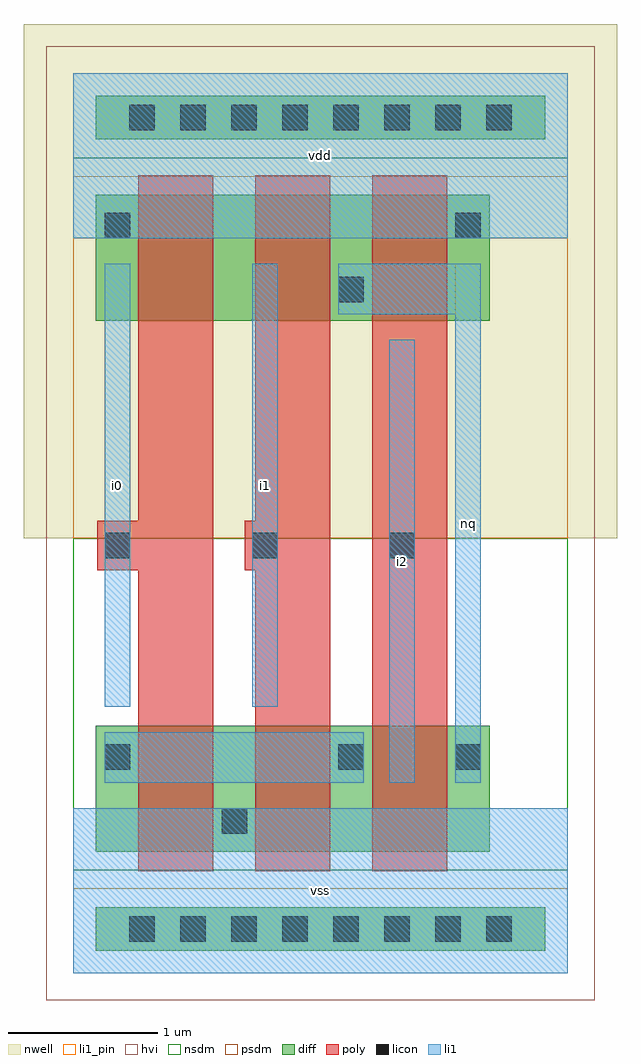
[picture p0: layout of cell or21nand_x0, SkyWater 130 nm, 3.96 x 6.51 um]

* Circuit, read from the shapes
.subckt or21nand_x0 i0 i1 i2 nq vdd vss
XM1 vss i0 n1 VSUBS sky130_fd_pr__nfet_g5v0d10v5 w=0.84 l=0.5
XM2 n1 i1 vss VSUBS sky130_fd_pr__nfet_g5v0d10v5 w=0.84 l=0.5
XM3 nq i2 n1 VSUBS sky130_fd_pr__nfet_g5v0d10v5 w=0.84 l=0.5
XM4 n2 i0 vdd n3 sky130_fd_pr__pfet_g5v0d10v5 w=0.84 l=0.5
XM5 nq i1 n2 n3 sky130_fd_pr__pfet_g5v0d10v5 w=0.84 l=0.5
XM6 vdd i2 nq n3 sky130_fd_pr__pfet_g5v0d10v5 w=0.84 l=0.5
.ends

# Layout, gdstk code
import gdstk
lib = gdstk.Library(unit=1e-6, precision=1e-09)
def R(c, l, rs):  # rectangles x0, y0, x1, y1
    for r in rs: c.add(gdstk.rectangle(r[:2], r[2:], *l))
def A(c, l, x, y, w, h, nx, ny, dx, dy):  # array of equal rectangles
    R(c, l, [(x+i*dx, y+j*dy, x+i*dx+w, y+j*dy+h) for i in range(nx) for j in range(ny)])
def P(c, l, *ps):  # polygons
    for p in ps: c.add(gdstk.Polygon(p, *l))
nwell = (64, 20)
diff = (65, 20)
poly = (66, 20)
licon = (66, 44)
li1_pin = (67, 16)
li1 = (67, 20)
hvi = (75, 20)
nsdm = (93, 44)
psdm = (94, 20)

or21nand_x0 = lib.new_cell('or21nand_x0')
R(or21nand_x0, nwell, [(-0.33,2.9,3.63,6.33)])
R(or21nand_x0, diff, [(0.15,0.15,3.15,0.44), (0.15,0.81,2.78,1.65), (0.15,4.35,2.78,5.19), (0.15,5.56,3.15,5.85)])
R(or21nand_x0, poly, [(1.995,0.68,2.495,5.32)])
P(or21nand_x0, poly, [(0.435,0.68),(0.435,2.685),(0.16,2.685),(0.16,3.015),(0.435,3.015),(0.435,5.32),(0.935,5.32),(0.935,0.68)],
  [(1.215,0.68),(1.215,2.685),(1.145,2.685),(1.145,3.015),(1.215,3.015),(1.215,5.32),(1.715,5.32),(1.715,0.68)])
A(or21nand_x0, licon, 0.375, 0.21, 0.17, 0.17, 8, 2, 0.34, 5.41)
R(or21nand_x0, licon, [(0.99,0.93,1.16,1.1), (0.21,1.355,0.38,1.525), (1.77,1.355,1.94,1.525), (2.55,1.355,2.72,1.525), (0.21,2.765,0.38,2.935), (1.195,2.765,1.365,2.935), (2.11,2.765,2.28,2.935), (1.77,4.475,1.94,4.645), (0.21,4.9,0.38,5.07), (2.55,4.9,2.72,5.07)])
R(or21nand_x0, li1_pin, [(0,0,3.3,1.1), (2.11,1.27,2.28,4.225), (2.55,1.27,2.72,4.73), (0.21,1.775,0.38,4.73), (1.195,1.775,1.365,4.73), (0,4.9,3.3,6)])
R(or21nand_x0, li1, [(0,0,3.3,1.1), (0.21,1.27,1.94,1.605), (2.11,1.27,2.28,4.225), (0.21,1.775,0.38,4.73), (1.195,1.775,1.365,4.73), (0,4.9,3.3,6)])
P(or21nand_x0, li1, [(2.55,1.27),(2.55,4.395),(1.77,4.395),(1.77,4.73),(2.72,4.73),(2.72,1.27)])
R(or21nand_x0, hvi, [(-0.18,-0.18,3.48,6.18)])
R(or21nand_x0, nsdm, [(0,0.685,3.3,2.9), (0,5.435,3.3,6)])
R(or21nand_x0, psdm, [(0,0,3.3,0.565), (0,2.9,3.3,5.315)])
or21nand_x0.add(gdstk.Label('vdd', (1.65,5.45), layer=67, texttype=16))
or21nand_x0.add(gdstk.Label('vss', (1.65,0.55), layer=67, texttype=16))
or21nand_x0.add(gdstk.Label('i0', (0.295,3.253), layer=67, texttype=16))
or21nand_x0.add(gdstk.Label('i1', (1.28,3.253), layer=67, texttype=16))
or21nand_x0.add(gdstk.Label('nq', (2.635,3), layer=67, texttype=16))
or21nand_x0.add(gdstk.Label('i2', (2.195,2.748), layer=67, texttype=16))

lib.write_gds('or21nand_x0.gds')
